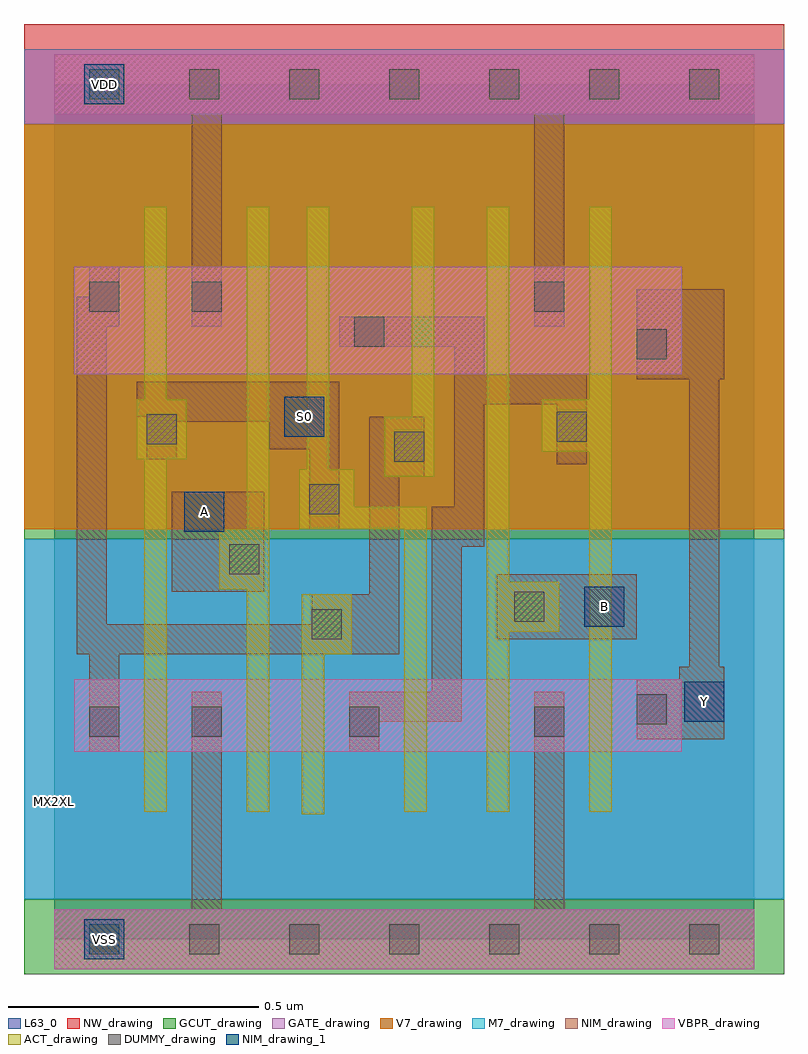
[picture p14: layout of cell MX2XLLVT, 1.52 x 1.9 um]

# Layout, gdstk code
import gdstk
lib = gdstk.Library(unit=1e-6, precision=5e-10)
def R(c, l, rs):  # rectangles x0, y0, x1, y1
    for r in rs: c.add(gdstk.rectangle(r[:2], r[2:], *l))
def A(c, l, x, y, w, h, nx, ny, dx, dy):  # array of equal rectangles
    R(c, l, [(x+i*dx, y+j*dy, x+i*dx+w, y+j*dy+h) for i in range(nx) for j in range(ny)])
def P(c, l, *ps):  # polygons
    for p in ps: c.add(gdstk.Polygon(p, *l))
VBPR_drawing = (1, 0)
NW_drawing = (2, 0)
ACT_drawing = (3, 0)
GATE_drawing = (4, 0)
GCUT_drawing = (5, 0)
DUMMY_drawing = (6, 0)
NIM_drawing = (7, 0)
NIM_drawing_1 = (7, 1)
M7_drawing = (26, 0)
V7_drawing = (27, 0)
L63_0 = (63, 0)

mx2xllvt = lib.new_cell('MX2XLLVT')
R(mx2xllvt, VBPR_drawing, [(0,-0.06,1.4,0.06), (0.04,0.375,1.255,0.52), (0.04,1.13,1.255,1.345), (0,1.65,1.4,1.77)])
R(mx2xllvt, NW_drawing, [(-0.06,0.82,1.46,1.83)])
P(mx2xllvt, ACT_drawing, [(1.115,1.465),(1.07,1.465),(1.07,1.08),(0.975,1.08),(0.975,0.975),(1.07,0.975),(1.07,0.255),(1.115,0.255)],
  [(1.01,0.715),(0.91,0.715),(0.91,1.465),(0.865,1.465),(0.865,0.255),(0.91,0.255),(0.91,0.615),(1.01,0.615)],
  [(0.76,1.465),(0.715,1.465),(0.715,1.045),(0.66,1.045),(0.66,0.925),(0.76,0.925)],
  [(0.745,0.865),(0.6,0.865),(0.6,0.94),(0.55,0.94),(0.55,1.465),(0.505,1.465),(0.505,0.94),(0.49,0.94),(0.49,0.82),(0.7,0.82),(0.7,0.255),(0.745,0.255)],
  [(0.595,0.69),(0.495,0.69),(0.495,0.25),(0.54,0.25),(0.54,0.57),(0.595,0.57)],
  [(0.43,1.465),(0.385,1.465),(0.385,0.82),(0.33,0.82),(0.33,0.7),(0.385,0.7),(0.385,0.255),(0.43,0.255)],
  [(0.265,1.08),(0.225,1.08),(0.225,1.465),(0.18,1.465),(0.18,1.08),(0.165,1.08),(0.165,0.96),(0.18,0.96),(0.18,0.255),(0.225,0.255),(0.225,0.96),(0.265,0.96)])
R(mx2xllvt, GATE_drawing, [(-0.06,0.08,1.46,0.8), (-0.06,1.63,1.46,1.78)])
R(mx2xllvt, GCUT_drawing, [(-0.06,-0.07,1.46,0.08), (-0.06,0.8,1.46,1.63)])
A(mx2xllvt, DUMMY_drawing, 0.07, -0.03, 0.06, 0.06, 7, 2, 0.2, 1.71)
R(mx2xllvt, DUMMY_drawing, [(0.07,0.405,0.13,0.465), (0.275,0.405,0.335,0.465), (0.59,0.405,0.65,0.465), (0.96,0.405,1.02,0.465), (1.165,0.43,1.225,0.49), (0.515,0.6,0.575,0.66), (0.92,0.635,0.98,0.695), (0.35,0.73,0.41,0.79), (0.51,0.85,0.57,0.91), (0.68,0.955,0.74,1.015), (0.185,0.99,0.245,1.05), (1.005,0.995,1.065,1.055), (1.165,1.16,1.225,1.22), (0.6,1.185,0.66,1.245), (0.07,1.255,0.13,1.315), (0.275,1.255,0.335,1.315), (0.96,1.255,1.02,1.315)])
R(mx2xllvt, NIM_drawing, [(0.275,0.06,0.335,0.495), (0.96,0.06,1.02,0.495), (0.885,0.6,1.165,0.73), (0.235,0.695,0.42,0.895), (0.275,1.225,0.335,1.65), (0.96,1.225,1.02,1.65)])
P(mx2xllvt, NIM_drawing, [(1.34,0.545),(1.33,0.545),(1.33,1.12),(1.34,1.12),(1.34,1.3),(1.165,1.3),(1.165,1.12),(1.27,1.12),(1.27,0.545),(1.25,0.545),(1.25,0.52),(1.165,0.52),(1.165,0.4),(1.34,0.4)],
  [(1.065,1.13),(0.86,1.13),(0.86,1.245),(0.57,1.245),(0.57,1.185),(0.8,1.185),(0.8,0.865),(0.755,0.865),(0.755,0.495),(0.59,0.495),(0.59,0.375),(0.65,0.375),(0.65,0.435),(0.815,0.435),(0.815,0.785),(0.86,0.785),(0.86,1.07),(1.005,1.07),(1.005,0.95),(1.065,0.95)],
  [(0.74,1.045),(0.63,1.045),(0.63,0.69),(0.515,0.69),(0.515,0.63),(0.105,0.63),(0.105,1.225),(0.13,1.225),(0.13,1.345),(0.07,1.345),(0.07,1.285),(0.045,1.285),(0.045,0.57),(0.07,0.57),(0.07,0.375),(0.13,0.375),(0.13,0.57),(0.69,0.57),(0.69,0.925),(0.74,0.925)],
  [(0.57,1.115),(0.165,1.115),(0.165,1.045),(0.185,1.045),(0.185,0.96),(0.245,0.96),(0.245,1.035),(0.43,1.035),(0.43,0.98),(0.51,0.98),(0.51,0.82),(0.57,0.82)])
R(mx2xllvt, NIM_drawing_1, [(0.06,-0.04,0.14,0.04), (1.26,0.435,1.34,0.515), (1.06,0.625,1.14,0.705), (0.26,0.815,0.34,0.895), (0.46,1.005,0.54,1.085), (0.06,1.67,0.14,1.75)])
R(mx2xllvt, M7_drawing, [(-0.06,0.08,1.46,0.8)])
R(mx2xllvt, V7_drawing, [(-0.06,0.82,1.46,1.63)])
R(mx2xllvt, L63_0, [(0,0,1.4,1.71)])
mx2xllvt.add(gdstk.FlexPath([(0,0),(1.4,0)], 0.12, ends="flush", simple_path=True, layer=7, datatype=0))  # NIM_drawing
mx2xllvt.add(gdstk.FlexPath([(0,1.71),(1.4,1.71)], 0.12, ends="flush", simple_path=True, layer=7, datatype=0))  # NIM_drawing
mx2xllvt.add(gdstk.Label('VSS', (0.1,0), layer=7, texttype=1))
mx2xllvt.add(gdstk.Label('A', (0.3,0.855), layer=7, texttype=1))
mx2xllvt.add(gdstk.Label('Y', (1.3,0.475), layer=7, texttype=1))
mx2xllvt.add(gdstk.Label('B', (1.1,0.665), layer=7, texttype=1))
mx2xllvt.add(gdstk.Label('S0', (0.5,1.045), layer=7, texttype=1))
mx2xllvt.add(gdstk.Label('VDD', (0.1,1.71), layer=7, texttype=1))
mx2xllvt.add(gdstk.Label('VSS', (0.1,0), layer=7, texttype=1))
mx2xllvt.add(gdstk.Label('VDD', (0.1,1.71), layer=7, texttype=1))
mx2xllvt.add(gdstk.Label('S0', (0.5,1.045), layer=7, texttype=1))
mx2xllvt.add(gdstk.Label('A', (0.3,0.855), layer=7, texttype=1))
mx2xllvt.add(gdstk.Label('B', (1.1,0.665), layer=7, texttype=1))
mx2xllvt.add(gdstk.Label('Y', (1.3,0.475), layer=7, texttype=1))
mx2xllvt.add(gdstk.Label('MX2XL', (0,0.275), layer=63, texttype=0))

lib.write_gds('MX2XLLVT.gds')
